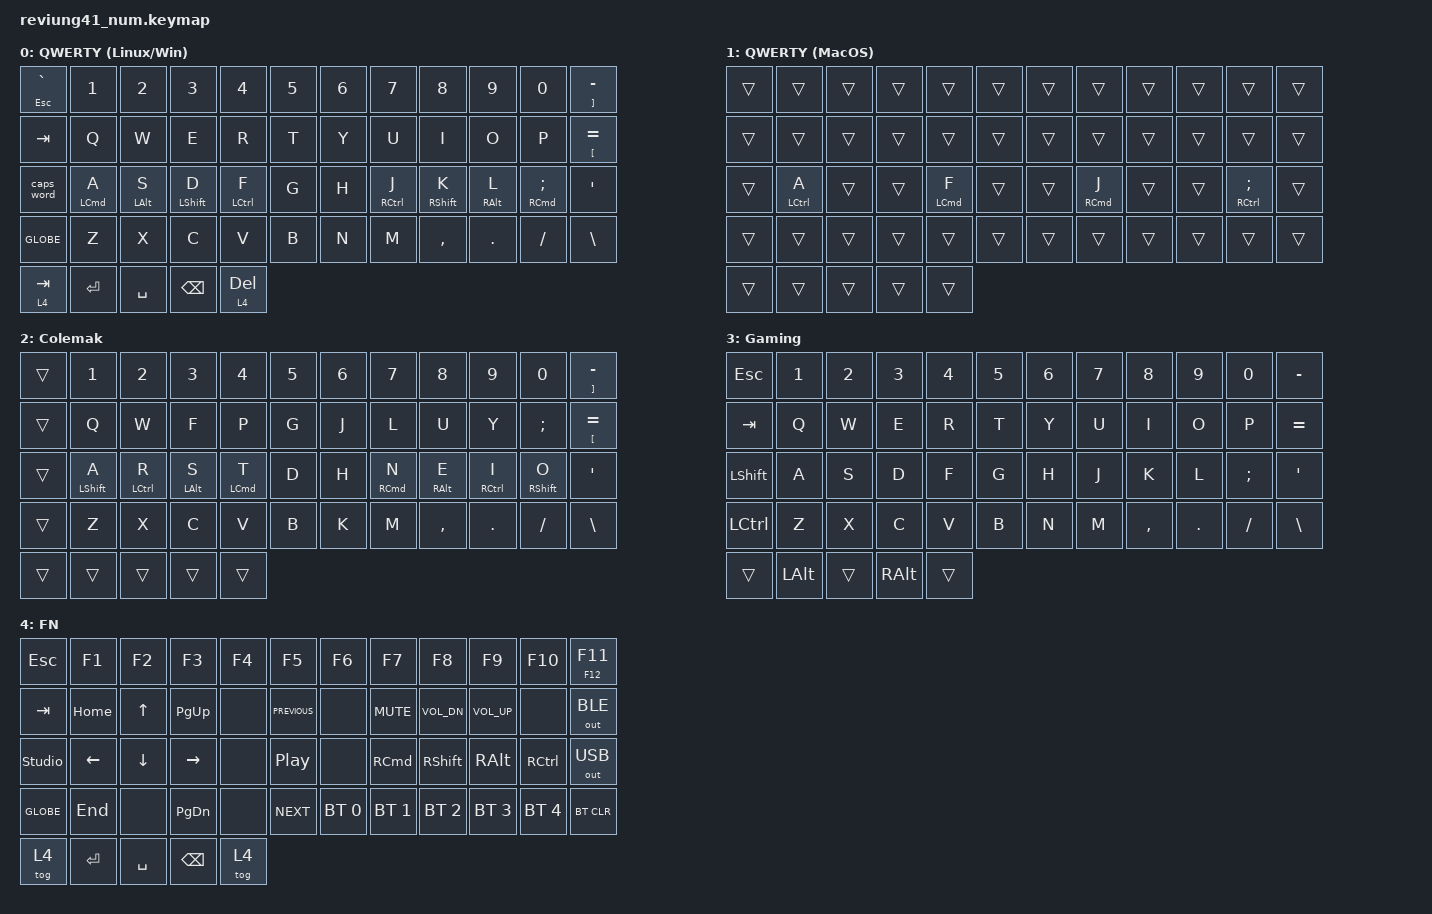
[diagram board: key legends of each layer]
/*
* Copyright (c) 2020 The ZMK Contributors
*
* SPDX-License-Identifier: MIT
*/
#include <dt-bindings/zmk/keys.h>
#include <dt-bindings/zmk/bt.h>
#include <dt-bindings/zmk/outputs.h>
#include <behaviors.dtsi>

#define KEYS_L 0 1 2 3 4 5 12 13 14 15 16 17 24 25 26 27 28 29 36 37 38 39 40 41
#define KEYS_R 6 7 8 9 10 11 18 19 20 21 22 23 30 31 32 33 34 35 42 43 44 45 46 47
#define THUMBS_L 48 49
#define THUMBS_R 51 52


&mt {
	flavor = "tap-preferred";
	quick_tap_ms = <125>;
	tapping_term_ms = <200>;
};

&lt {
	quick_tap_ms = <125>;
};

/ {
	behaviors {
		hml: home_row_mod_left {
			compatible = "zmk,behavior-hold-tap";
			#binding-cells = <2>;
			flavor = "balanced";
			require-prior-idle-ms = <150>;
			tapping-term-ms = <200>;
			quick-tap-ms = <125>;
			bindings = <&kp>, <&kp>;
			hold-trigger-key-positions = < KEYS_R THUMBS_R >;
			hold-trigger-on-release;
		};
		hmr: home_row_mod_right {
			compatible = "zmk,behavior-hold-tap";
			#binding-cells = <2>;
			flavor = "balanced";
			require-prior-idle-ms = <150>;
			tapping-term-ms = <200>;
			quick-tap-ms = <125>;
			bindings = <&kp>, <&kp>;
			hold-trigger-key-positions = < KEYS_L THUMBS_L >;
			hold-trigger-on-release;
		};
	};
	combos {
		compatible = "zmk,combos";
		
		combo_function {
			timeout-ms = <100>;
			key-positions = <48 52>;
			bindings = <&tog 4>;
		};
		
		combo_colemak {
			timeout-ms = <100>;
			key-positions = <0 11 36 47>;
			bindings = <&tog 2>;
		};
		
		combo_gaming {
			timeout-ms = <100>;
			key-positions = <0 11 48 52>;
			bindings = <&tog 3>;
		};
		
		combo_qwerty_mac {
			timeout-ms = <100>;
			key-positions = <0 11 31 28>;
			bindings = <&tog 1>;
		};
	};
	
	
	
	keymap {
		compatible = "zmk,keymap";
		
		qwerty {
			display-name = "QWERTY (Linux/Win)";
			bindings = <
			&mt ESC GRAVE   &kp N1        &kp N2      &kp N3       &kp N4         &kp N5          &kp N6   &kp N7        &kp N8        &kp N9        &kp N0          &mt RBKT MINUS
			&kp TAB         &kp Q         &kp W       &kp E        &kp R          &kp T           &kp Y    &kp U         &kp I         &kp O         &kp P           &mt LBKT EQUAL
			&caps_word      &hml LCMD A &hml LALT S &hml LSHIFT D  &hml LCTRL F   &kp G           &kp H    &hmr RCTRL J  &hmr RSHIFT K   &hmr RALT L   &hmr RCMD SEMI &kp SQT
			&kp GLOBE       &kp Z         &kp X       &kp C        &kp V          &kp B           &kp N    &kp M         &kp COMMA     &kp DOT       &kp FSLH        &kp BSLH
			&lt 4 TAB  &kp RET            &kp SPACE        &kp BSPC    &lt 4 DEL
			>;
		};
		
		qwerty_mac {
			display-name = "QWERTY (MacOS)";
			bindings = <
			&trans          &trans        &trans        &trans     &trans       &trans          &trans    &trans       &trans        &trans        &trans          &trans
			&trans          &trans        &trans        &trans     &trans       &trans          &trans    &trans       &trans        &trans        &trans          &trans
			&trans          &hml LCTRL A  &trans        &trans     &hml LCMD F  &trans          &trans    &hmr RCMD J  &trans        &trans        &hmr RCTRL SEMI &trans
			&trans          &trans        &trans        &trans     &trans       &trans          &trans    &trans       &trans        &trans        &trans          &trans
			&trans    &trans             &trans          &trans      &trans
			>;
		};
		
		colemak {
			display-name = "Colemak";
			bindings = <
			&trans          &kp N1        &kp N2         &kp N3        &kp N4        &kp N5          &kp N6    &kp N7        &kp N8         &kp N9        &kp N0          &mt RBKT MINUS
			&trans          &kp Q         &kp W          &kp F         &kp P         &kp G           &kp J     &kp L         &kp U          &kp Y         &kp SEMI        &mt LBKT EQUAL
			&trans          &hml LSHIFT A &hml LCTRL R   &hml LALT S   &hml LCMD T   &kp D           &kp H     &hmr RCMD N   &hmr RALT E    &hmr RCTRL I  &hmr RSHFT O    &kp SQT
			&trans          &kp Z         &kp X          &kp C         &kp V         &kp B           &kp K     &kp M         &kp COMMA      &kp DOT       &kp FSLH        &kp BSLH
			&trans     &trans            &trans           &trans     &trans
			>;
		};
		
		gaming {
			display-name = "Gaming";
			bindings = <
			&kp ESC         &kp N1        &kp N2      &kp N3     &kp N4      &kp N5          &kp N6 &kp N7     &kp N8        &kp N9        &kp N0          &kp MINUS
			&kp TAB         &kp Q         &kp W       &kp E      &kp R       &kp T           &kp Y  &kp U      &kp I         &kp O         &kp P           &kp EQUAL
			&kp LSHIFT      &kp A         &kp S       &kp D      &kp F       &kp G           &kp H  &kp J      &kp K         &kp L         &kp SEMI        &kp SQT
			&kp LCTRL       &kp Z         &kp X       &kp C      &kp V       &kp B           &kp N  &kp M      &kp COMMA     &kp DOT       &kp FSLH        &kp BSLH
			&trans      &kp LALT             &trans           &kp RALT     &trans
			>;
		};
		
		function {
			display-name = "FN";
			bindings = <
			&kp ESC         &kp F1        &kp F2      &kp F3     &kp F4      &kp F5          &kp F6       &kp F7       &kp F8        &kp F9        &kp F10      &mt F12 F11
			&kp TAB         &kp HOME      &kp UP     &kp PG_UP   &none       &kp C_PREVIOUS           &none        &kp C_MUTE   &kp C_VOL_DN  &kp C_VOL_UP  &none        &out OUT_BLE
			&studio_unlock  &kp LEFT      &kp DOWN   &kp RIGHT   &none       &kp C_PLAY_PAUSE          &none        &kp RCMD     &kp RSHIFT    &kp RALT      &kp RCTRL    &out OUT_USB
			&kp GLOBE       &kp END       &none      &kp PG_DN   &none       &kp C_NEXT           &bt BT_SEL 0 &bt BT_SEL 1 &bt BT_SEL 2  &bt BT_SEL 3  &bt BT_SEL 4 &bt BT_CLR
			&tog 4     &kp RET           &kp SPACE              &kp BSPC     &tog 4
			>;
		};
	};
};
